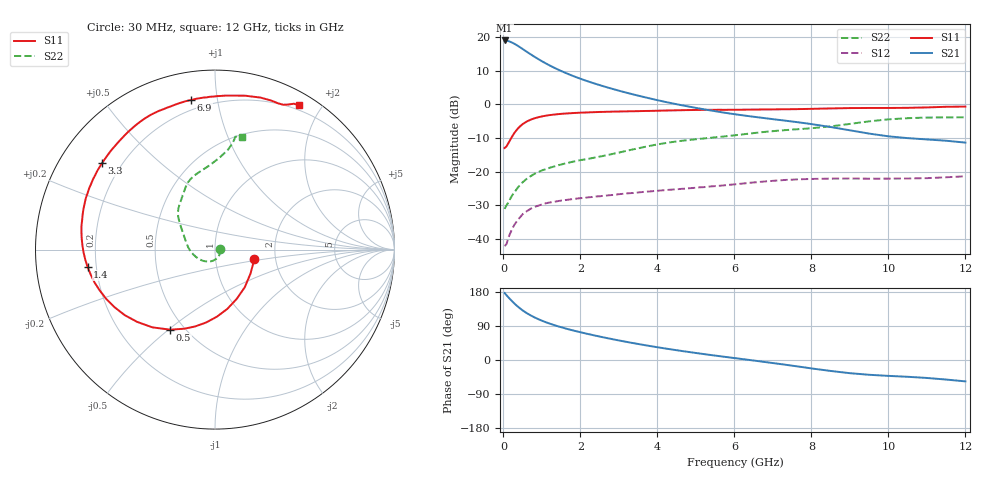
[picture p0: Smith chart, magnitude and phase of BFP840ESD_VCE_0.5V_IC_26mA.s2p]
! Infineon Technologies  Discrete & RF Semiconductors
! BFP840ESD
! VCE =  0.5 V,  IC =  26 mA
! Common Emitter S-Parameters:  May 2012
# GHz  S  MA  R  50
!  f  S11  S21  S12  S22
! GHz  MAG  ANG  MAG  ANG  MAG  ANG  MAG  ANG
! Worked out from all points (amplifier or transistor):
!   93 points, 30 MHz to 12 GHz, reference 50 ohm
!   highest |S21| = 19.1 dB at 30 MHz (marker M1)
!   |S21| within 3 dB of that: start of sweep to 558.2 MHz
!   unconditionally stable (mu >= 1): start of sweep to end of sweep
!   at 1.1 GHz: K = 1.98, MAG = 15.2 dB, |S12| = -29.4 dB
!   at 4.2 GHz: K = 2.91, MAG = 5.6 dB, |S12| = -25.5 dB
!   at 12 GHz: K = 2.18, MAG = -1.1 dB, |S12| = -21.4 dB
!   S11 on the Smith chart (normalised r, x): 30 MHz: 1.55, -0.17; 500 MHz: 0.42, -0.51; 1.4 GHz: 0.17, -0.07; 3.3 GHz: 0.13, +0.33; 6.9 GHz: 0.15, +0.84; 12 GHz: 0.14, +1.73
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0.03  0.2253 -13.4  8.966 176.8  0.0078 16.3  0.028 3.6
0.08  0.2385 -33.7  8.905 170.9  0.0084 25.6  0.0316 -20.7
0.13  0.2674 -51.7  8.775 165.2  0.0105 34.1  0.0352 -38.4
0.23  0.3372 -78.2  8.303 154.5  0.0142 41.9  0.0447 -66.1
0.28  0.3741 -88.4  8.024 149.5  0.0161 44.0  0.0489 -76.4
0.38  0.4423 -104.5  7.414 140.4  0.0195 44.4  0.0587 -94.5
0.5  0.5112 -119.2  6.686 130.8  0.0234 42.8  0.0698 -110.2
0.6  0.5564 -128.9  6.115 124.0  0.0257 40.2  0.078 -121.2
0.7  0.5918 -137.1  5.611 118.1  0.028 37.9  0.0852 -130.3
0.9  0.645 -150.1  4.755 108.0  0.0312 34.5  0.0981 -144.6
1.1  0.6809 -160.3  4.088 99.7  0.0339 31.4  0.1092 -155.5
1.4  0.7167 -172.2  3.344 89.5  0.0364 28.5  0.1239 -167.3
1.7  0.7392 178.1  2.813 80.8  0.0385 26.1  0.1365 -176.6
2.1  0.7582 167.5  2.304 70.9  0.0408 24.5  0.1517 173.7
2.7  0.7796 154.2  1.794 57.6  0.0443 22.6  0.1767 160.7
3.3  0.7924 142.6  1.446 45.8  0.048 20.8  0.2106 150.1
4.1  0.8095 129.3  1.126 32.0  0.0526 17.9  0.2605 140.5
6.1  0.8352 107.2  0.704 3.9  0.0658 10.7  0.3532 120.7
6.9  0.8443 99.0  0.615 -6.7  0.0724 5.2  0.3966 113.3
8.5  0.8738 78.9  0.462 -28.9  0.0789 -8.3  0.4719 93.4
10.5  0.892 64.8  0.316 -44.3  0.0792 -19.4  0.6256 80.0
12  0.9303 59.9  0.271 -56.4  0.0855 -25.1  0.645 76.5
